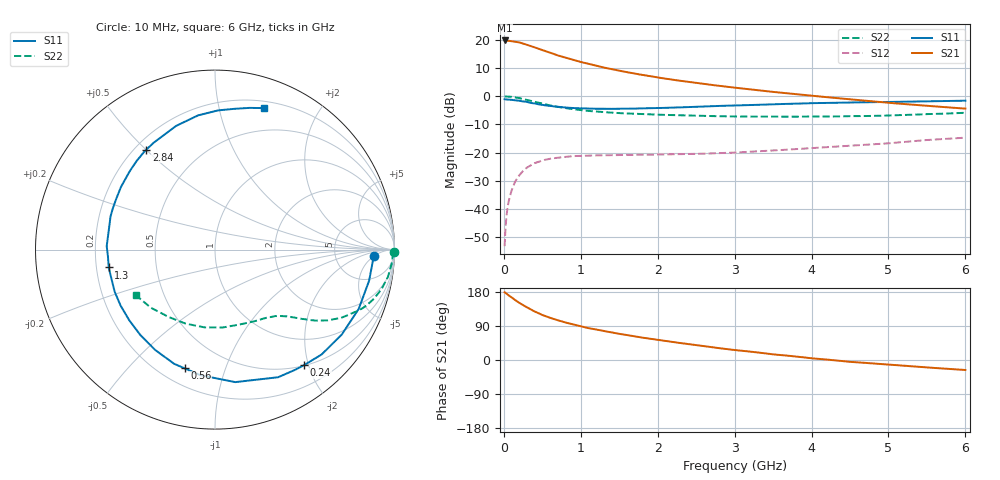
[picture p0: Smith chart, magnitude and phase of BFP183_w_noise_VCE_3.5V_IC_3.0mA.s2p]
! Infineon Technologies  Discrete & RF Semiconductors
! BFP183
! VCE = 3.5 V,  IC =  3.0 mA
! Common Emitter S-Parameters:  Jan 2016
# GHz  S  MA  R  50
!  f  S11  S21  S12  S22
! GHz  MAG  ANG  MAG  ANG  MAG  ANG  MAG  ANG
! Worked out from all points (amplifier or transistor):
!   210 points, 10 MHz to 6 GHz, reference 50 ohm
!   highest |S21| = 19.8 dB at 10 MHz (marker M1)
!   |S21| within 3 dB of that: start of sweep to 457.3 MHz
!   unconditionally stable (mu >= 1): 1.885 GHz to 5.746 GHz
!   at 185 MHz: K = 0.12, MSG = 23.9 dB, |S12| = -28.6 dB
!   at 1.52 GHz: K = 0.84, MSG = 14.9 dB, |S12| = -20.8 dB
!   at 6 GHz: K = 0.94, MSG = 5.1 dB, |S12| = -14.7 dB
!   lowest NFmin = 1.10 dB at 450 MHz
!   S11 on the Smith chart (normalised r, x): 10 MHz: 15, -5; 240 MHz: 0.51, -1.93; 560 MHz: 0.30, -0.73; 1.3 GHz: 0.25, -0.08; 2.84 GHz: 0.24, +0.50; 6 GHz: 0.26, +1.37
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0.01  0.8851 -2.3  9.742 178.7  0.0022 87.7  0.9971 -0.9
0.03  0.8779 -6.9  9.657 175.9  0.0064 85.6  0.9898 -2.7
0.07  0.8682 -15.8  9.582 169.6  0.015 80.7  0.9821 -6.3
0.1  0.8662 -22.4  9.489 165.2  0.0211 76.7  0.9754 -9.0
0.16  0.8445 -35.9  9.173 156.5  0.0328 70.2  0.9485 -14.0
0.2  0.8333 -44.5  9.006 151.0  0.0396 66.3  0.9275 -17.1
0.24  0.8128 -52.4  8.657 145.8  0.0458 62.0  0.9018 -20.0
0.3  0.7933 -63.7  8.179 139.1  0.0543 56.6  0.8602 -23.6
0.4  0.7469 -81.3  7.366 128.0  0.0652 49.0  0.798 -28.5
0.5  0.7043 -96.7  6.585 118.8  0.0728 42.1  0.7384 -32.3
0.56  0.6829 -104.4  6.192 114.5  0.076 39.1  0.7081 -33.9
0.7  0.6509 -120.9  5.292 104.9  0.0815 33.4  0.6476 -37.1
0.8  0.6321 -131.1  4.84 98.9  0.0843 30.2  0.6166 -38.7
1.02  0.6096 -150.9  3.988 87.9  0.0878 25.3  0.5639 -41.7
1.3  0.6005 -170.5  3.226 76.5  0.0901 21.3  0.5223 -45.1
1.6  0.6014 173.0  2.672 65.8  0.0911 19.6  0.4953 -48.7
2.02  0.6186 152.9  2.129 52.7  0.0926 19.4  0.4699 -54.7
2.84  0.6758 124.4  1.507 30.3  0.0986 22.2  0.4413 -69.8
3.1  0.6913 117.2  1.371 24.3  0.102 23.3  0.4364 -75.4
4.1  0.7568 95.5  0.991 2.9  0.1227 25.7  0.4365 -100.4
5.1  0.7954 80.9  0.746 -13.7  0.1506 25.4  0.4591 -127.4
6  0.8342 70.9  0.603 -26.4  0.1844 19.4  0.5097 -150.2
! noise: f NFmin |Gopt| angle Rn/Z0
0.45  1.1  0.37  35  0.3
0.9  1.15  0.34  85  0.23
1.8  1.9  0.35  160  0.13
